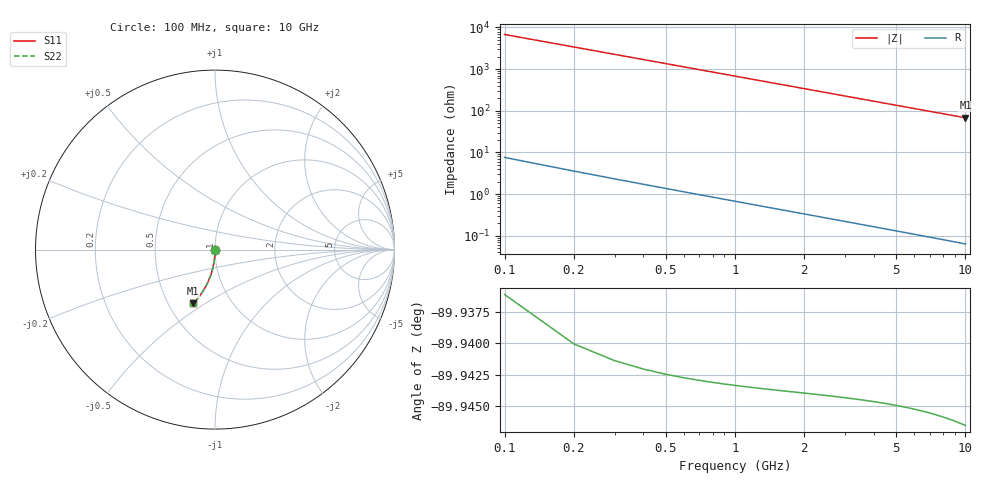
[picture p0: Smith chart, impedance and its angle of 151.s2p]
# Hz S RI R 50.00
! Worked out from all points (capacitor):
!   100 points, 100 MHz to 10 GHz, reference 50 ohm
!   read as one part in shunt: C = 234 fF near 100 MHz
!   lowest |Z| = 67.9 ohm at 10 GHz (marker M1)
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1e8  0.000125 -0.00342  0.9998 -0.00394  0.9998 -0.00394  0.000125 -0.00342
2e8  8.21e-05 -0.00684  0.9998 -0.00788  0.9998 -0.00788  8.21e-05 -0.00684
3e8  1.18e-05 -0.0103  0.9997 -0.0118  0.9997 -0.0118  1.18e-05 -0.0103
4e8  -8.56e-05 -0.0137  0.9996 -0.0158  0.9996 -0.0158  -8.56e-05 -0.0137
5e8  -0.00021 -0.0171  0.9995 -0.0197  0.9995 -0.0197  -0.00021 -0.0171
6e8  -0.000361 -0.0205  0.9993 -0.0236  0.9993 -0.0236  -0.000361 -0.0205
7e8  -0.00054 -0.0239  0.9992 -0.0276  0.9992 -0.0276  -0.00054 -0.0239
8e8  -0.000745 -0.0273  0.999 -0.0315  0.999 -0.0315  -0.000745 -0.0273
9e8  -0.000977 -0.0307  0.9987 -0.0355  0.9987 -0.0355  -0.000977 -0.0307
1.1e9  -0.00152 -0.0376  0.9982 -0.0433  0.9982 -0.0433  -0.00152 -0.0376
1.4e9  -0.00254 -0.0478  0.9971 -0.0551  0.9971 -0.0551  -0.00254 -0.0478
1.8e9  -0.00427 -0.0613  0.9954 -0.0707  0.9954 -0.0707  -0.00427 -0.0613
2.1e9  -0.00585 -0.0714  0.9938 -0.0824  0.9938 -0.0824  -0.00585 -0.0714
2.5e9  -0.00831 -0.0848  0.9913 -0.0979  0.9913 -0.0979  -0.00831 -0.0848
2.9e9  -0.0112 -0.0981  0.9884 -0.1133  0.9884 -0.1133  -0.0112 -0.0981
3.4e9  -0.0154 -0.1145  0.9842 -0.1323  0.9842 -0.1323  -0.0154 -0.1145
4.2e9  -0.0233 -0.1403  0.9761 -0.1623  0.9761 -0.1623  -0.0233 -0.1403
5.1e9  -0.0341 -0.1685  0.9652 -0.1953  0.9652 -0.1953  -0.0341 -0.1685
5.9e9  -0.0452 -0.1927  0.954 -0.2236  0.954 -0.2236  -0.0452 -0.1927
6.7e9  -0.0577 -0.2159  0.9414 -0.2511  0.9414 -0.2511  -0.0577 -0.2159
8.4e9  -0.0881 -0.2618  0.9106 -0.306  0.9106 -0.306  -0.0881 -0.2618
1e10  -0.1208 -0.3001  0.8774 -0.3528  0.8774 -0.3528  -0.1208 -0.3001
